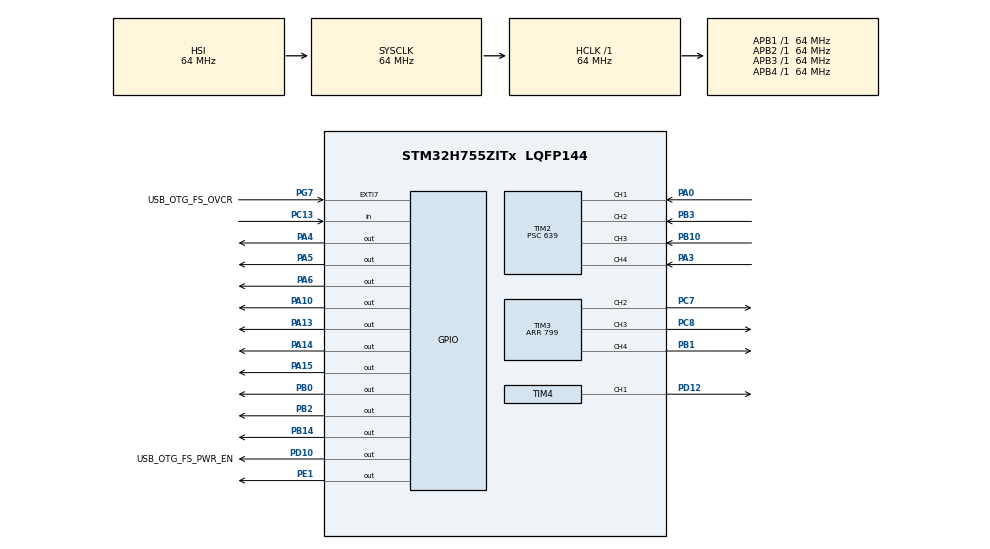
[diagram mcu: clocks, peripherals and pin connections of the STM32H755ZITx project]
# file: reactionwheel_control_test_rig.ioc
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CortexM4.IPs=FATFS_M4\:I,FREERTOS_M4\:I,IWDG2\:I,RCC,WWDG2\:I,DMA,BDMA,MDMA,NVIC2\:I,ETH,USART3,DEBUG,PDM2PCM_M4\:I,PWR,RESMGR_UTILITY,SYS_M4\:I,USB_DEVICE_M4\:I,USB_HOST_M4\:I,CORTEX_M4\:I,GPIO,OPENAMP_M4\:I,VREFBUF,NUCLEO-H755ZI-Q
CortexM7.IPs=FATFS_M7\:I,FREERTOS_M7\:I,IWDG1\:I,RCC\:I,WWDG1\:I,DMA\:I,BDMA\:I,MDMA\:I,NVIC1\:I,ETH\:I,USART3\:I,USB_OTG_FS\:I,SYS\:I,CORTEX_M7\:I,DEBUG\:I,PDM2PCM_M7\:I,PWR\:I,RESMGR_UTILITY\:I,USB_DEVICE_M7\:I,USB_HOST_M7\:I,GPIO\:I,OPENAMP_M7\:I,VREFBUF\:I,MEMORYMAP\:I,TIM2\:I,TIM3\:I,TIM4\:I,NUCLEO-H755ZI-Q\:I
CortexM7.Pins=PA4,PA5,PA6,PA10
Mcu.Family=STM32H7
Mcu.Name=STM32H755ZITx
Mcu.Package=LQFP144
NUCLEO-H755ZI-Q.BUTTON=1
NUCLEO-H755ZI-Q.Bsp_Common_DEMO=true
NUCLEO-H755ZI-Q.LD1=true
NUCLEO-H755ZI-Q.LD2=true
NUCLEO-H755ZI-Q.LD3=true
NUCLEO-H755ZI-Q.VCP=true
NVIC1.EXTI15_10_IRQn=true\:0\:0\:false\:false\:true\:false\:true\:true
NVIC1.PriorityGroup=NVIC_PRIORITYGROUP_4
NVIC1.TIM2_IRQn=true\:0\:0\:false\:false\:true\:true\:true\:true
NVIC2.PriorityGroup=NVIC_PRIORITYGROUP_4
PA0.PinAttribute=CortexM7
PA0.Signal=S_TIM2_CH1_ETR
PA1.PinAttribute=CortexM7
PA1.Signal=ETH_REF_CLK
PA10.PinAttribute=CortexM7
PA10.Signal=GPIO_Output
PA11.PinAttribute=CortexM7
PA11.Signal=USB_OTG_FS_DM
PA12.PinAttribute=CortexM7
PA12.Signal=USB_OTG_FS_DP
PA13\ (JTMS/SWDIO).PinAttribute=Free
PA13\ (JTMS/SWDIO).Signal=GPIO_Output
PA14\ (JTCK/SWCLK).PinAttribute=Free
PA14\ (JTCK/SWCLK).Signal=GPIO_Output
PA15\ (JTDI).PinAttribute=Free
PA15\ (JTDI).Signal=GPIO_Output
PA2.PinAttribute=CortexM7
PA2.Signal=ETH_MDIO
PA3.PinAttribute=CortexM7
PA3.Signal=S_TIM2_CH4
PA4.PinAttribute=CortexM7
PA4.Signal=GPIO_Output
PA5.PinAttribute=CortexM7
PA5.Signal=GPIO_Output
PA6.PinAttribute=CortexM7
PA6.Signal=GPIO_Output
PA7.PinAttribute=CortexM7
PA7.Signal=ETH_CRS_DV
PA8.PinAttribute=CortexM7
PA8.Signal=USB_OTG_FS_SOF
PA9.PinAttribute=CortexM7
PA9.Signal=USB_OTG_FS_VBUS
PB0.Signal=GPIO_Output
PB1.PinAttribute=CortexM7
PB1.Signal=S_TIM3_CH4
PB10.PinAttribute=CortexM7
PB10.Signal=S_TIM2_CH3
PB13.PinAttribute=CortexM7
PB13.Signal=ETH_TXD1
PB14.Signal=GPIO_Output
PB2.PinAttribute=Free
PB2.Signal=GPIO_Output
PB3\ (JTDO/TRACESWO).PinAttribute=CortexM7
PB3\ (JTDO/TRACESWO).Signal=S_TIM2_CH2
PC1.PinAttribute=CortexM7
PC1.Signal=ETH_MDC
PC13.Signal=GPIO_Input
PC14-OSC32_IN\ (OSC32_IN).PinAttribute=Free
PC14-OSC32_IN\ (OSC32_IN).Signal=RCC_OSC32_IN
PC15-OSC32_OUT\ (OSC32_OUT).PinAttribute=Free
PC15-OSC32_OUT\ (OSC32_OUT).Signal=RCC_OSC32_OUT
PC4.PinAttribute=CortexM7
PC4.Signal=ETH_RXD0
PC5.PinAttribute=CortexM7
PC5.Signal=ETH_RXD1
PC7.PinAttribute=CortexM7
PC7.Signal=S_TIM3_CH2
PC8.PinAttribute=CortexM7
PC8.Signal=S_TIM3_CH3
PD10.GPIO_Label=USB_OTG_FS_PWR_EN
PD10.PinAttribute=Free
PD10.Signal=GPIO_Output
PD12.PinAttribute=CortexM7
PD12.Signal=S_TIM4_CH1
PD8.Signal=USART3_TX
PD9.Signal=USART3_RX
PE1.Signal=GPIO_Output
PG11.PinAttribute=CortexM7
PG11.Signal=ETH_TX_EN
PG13.PinAttribute=CortexM7
PG13.Signal=ETH_TXD0
PG7.GPIO_Label=USB_OTG_FS_OVCR
PG7.PinAttribute=Free
PG7.Signal=GPXTI7
PH0-OSC_IN\ (PH0).PinAttribute=Free
PH0-OSC_IN\ (PH0).Signal=RCC_OSC_IN
PH1-OSC_OUT\ (PH1).PinAttribute=Free
PH1-OSC_OUT\ (PH1).Signal=RCC_OSC_OUT
ProjectManager.HeapSize=M4-0x200,M7-0x200
ProjectManager.StackSize=M4-0x400,M7-0x400
ProjectManager.TargetToolchain=STM32CubeIDE
RCC.ADCFreq_Value=129000000
RCC.APB1Freq_Value=64000000
RCC.APB2Freq_Value=64000000
RCC.APB3Freq_Value=64000000
RCC.APB4Freq_Value=64000000
RCC.CortexFreq_Value=64000000
RCC.DIVM1=5
RCC.DIVN1=48
RCC.DIVQ1=5
RCC.HCLKFreq_Value=64000000
RCC.PLL2FRACN=0
RCC.PLL3FRACN=0
RCC.PLLFRACN=0
RCC.SYSCLKFreq_VALUE=64000000
RCC.SupplySource=PWR_DIRECT_SMPS_SUPPLY
RCC.USBFreq_Value=122880000
SH.S_TIM2_CH1_ETR.0=TIM2_CH1,Input_Capture1_from_TI1
SH.S_TIM2_CH2.0=TIM2_CH2,Input_Capture2_from_TI2
SH.S_TIM2_CH3.0=TIM2_CH3,Input_Capture3_from_TI3
SH.S_TIM2_CH4.0=TIM2_CH4,Input_Capture4_from_TI4
SH.S_TIM3_CH2.0=TIM3_CH2,PWM Generation2 CH2
SH.S_TIM3_CH3.0=TIM3_CH3,PWM Generation3 CH3
SH.S_TIM3_CH4.0=TIM3_CH4,PWM Generation4 CH4
SH.S_TIM4_CH1.0=TIM4_CH1,PWM Generation1 CH1
TIM2.Channel-Input_Capture1_from_TI1=TIM_CHANNEL_1
TIM2.Channel-Input_Capture2_from_TI2=TIM_CHANNEL_2
TIM2.Channel-Input_Capture3_from_TI3=TIM_CHANNEL_3
TIM2.Channel-Input_Capture4_from_TI4=TIM_CHANNEL_4
TIM2.ICFilter_CH1=15
TIM2.Prescaler=639
TIM3.Channel-PWM\ Generation2\ CH2=TIM_CHANNEL_2
TIM3.Channel-PWM\ Generation3\ CH3=TIM_CHANNEL_3
TIM3.Channel-PWM\ Generation4\ CH4=TIM_CHANNEL_4
TIM3.Period=799
TIM3.Pulse-PWM\ Generation4\ CH4=0
TIM4.Channel-PWM\ Generation1\ CH1=TIM_CHANNEL_1
VP_MEMORYMAP_VS_MEMORYMAP.Mode=CurAppReg
VP_NUCLEO-H755ZI-Q_VS_BSP_COMMON.Mode=COMMON
VP_SYS_M4_VS_Systick.Mode=SysTick
VP_TIM2_VS_ClockSourceINT.Mode=Internal
VP_TIM3_VS_ClockSourceINT.Mode=Internal
VP_TIM4_VS_ClockSourceINT.Mode=Internal
board=NUCLEO-H755ZI-Q

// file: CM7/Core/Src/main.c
/* USER CODE BEGIN Header */
/**
  ******************************************************************************
  * @file           : main.c
  * @brief          : Main program body
  ******************************************************************************
  * @attention
  *
  * Copyright (c) 2025 STMicroelectronics.
  * All rights reserved.
  *
  * This software is licensed under terms that can be found in the LICENSE file
  * in the root directory of this software component.
  * If no LICENSE file comes with this software, it is provided AS-IS.
  *
  ******************************************************************************
  */
/* USER CODE END Header */
#include "main.h"

/* USER CODE BEGIN PD */

#ifndef HSEM_ID_0
#define HSEM_ID_0 (0U) /* HW semaphore 0*/
#endif

/* USER CODE END PD */

COM_InitTypeDef BspCOMInit;
__IO uint32_t BspButtonState = BUTTON_RELEASED;

TIM_HandleTypeDef htim2;
TIM_HandleTypeDef htim3;
TIM_HandleTypeDef htim4;

void SystemClock_Config(void);
static void MX_GPIO_Init(void);
static void MX_TIM2_Init(void);
static void MX_TIM3_Init(void);
static void MX_TIM4_Init(void);

int main(void)
{

/* USER CODE BEGIN Boot_Mode_Sequence_0 */
  int32_t timeout;
/* USER CODE END Boot_Mode_Sequence_0 */

/* USER CODE BEGIN Boot_Mode_Sequence_1 */
  /* Wait until CPU2 boots and enters in stop mode or timeout*/
  timeout = 0xFFFF;
  while((__HAL_RCC_GET_FLAG(RCC_FLAG_D2CKRDY) != RESET) && (timeout-- > 0));
  if ( timeout < 0 )
  {
  Error_Handler();
  }
/* USER CODE END Boot_Mode_Sequence_1 */
  /* MCU Configuration--------------------------------------------------------*/

  /* Reset of all peripherals, Initializes the Flash interface and the Systick. */
  HAL_Init();

  /* Configure the system clock */
  SystemClock_Config();
/* USER CODE BEGIN Boot_Mode_Sequence_2 */
/* When system initialization is finished, Cortex-M7 will release Cortex-M4 by means of
HSEM notification */
/*HW semaphore Clock enable*/
__HAL_RCC_HSEM_CLK_ENABLE();
/*Take HSEM */
HAL_HSEM_FastTake(HSEM_ID_0);
/*Release HSEM in order to notify the CPU2(CM4)*/
HAL_HSEM_Release(HSEM_ID_0,0);
/* wait until CPU2 wakes up from stop mode */
timeout = 0xFFFF;
while((__HAL_RCC_GET_FLAG(RCC_FLAG_D2CKRDY) == RESET) && (timeout-- > 0));
if ( timeout < 0 )
{
Error_Handler();
}
/* USER CODE END Boot_Mode_Sequence_2 */

  /* Initialize all configured peripherals */
  MX_GPIO_Init();
  MX_TIM2_Init();
  MX_TIM3_Init();
  MX_TIM4_Init();

  /* Initialize leds */
  BSP_LED_Init(LED_GREEN);
  BSP_LED_Init(LED_YELLOW);
  BSP_LED_Init(LED_RED);

  /* Initialize USER push-button, will be used to trigger an interrupt each time it's pressed.*/
  BSP_PB_Init(BUTTON_USER, BUTTON_MODE_EXTI);

  /* Initialize COM1 port (115200, 8 bits (7-bit data + 1 stop bit), no parity */
  BspCOMInit.BaudRate   = 115200;
  BspCOMInit.WordLength = COM_WORDLENGTH_8B;
  BspCOMInit.StopBits   = COM_STOPBITS_1;
  BspCOMInit.Parity     = COM_PARITY_NONE;
  BspCOMInit.HwFlowCtl  = COM_HWCONTROL_NONE;
  if (BSP_COM_Init(COM1, &BspCOMInit) != BSP_ERROR_NONE)
  {
    Error_Handler();
  }

  /* USER CODE BEGIN BSP */
  /* -- Sample board code to send message over COM1 port ---- */
  printf("Welcome to STM32 world !\n\r");
  /* -- Sample board code to switch on leds ---- */
  BSP_LED_On(LED_GREEN);
  BSP_LED_On(LED_YELLOW);
  BSP_LED_On(LED_RED);
  /* USER CODE END BSP */

  /* Infinite loop */
  /* USER CODE BEGIN WHILE */
//  if (HAL_TIM_PWM_Start(&htim3, TIM_CHANNEL_2) != HAL_OK) {
//	  BSP_LED_Off(LED_GREEN);
//  }
//
//  if (HAL_TIM_PWM_Start(&htim3, TIM_CHANNEL_3) != HAL_OK) {
//	  BSP_LED_Off(LED_GREEN);
//  }

  if (HAL_TIM_PWM_Start(&htim3, TIM_CHANNEL_4) != HAL_OK) {
	  BSP_LED_Off(LED_GREEN);
  }

  if (HAL_TIM_PWM_Start(&htim3, TIM_CHANNEL_2) != HAL_OK) {
	  BSP_LED_Off(LED_GREEN);
  }

  HAL_TIM_IC_Start_IT(&htim2, TIM_CHANNEL_1);

  while (1)
  {

    /* -- Sample board code for User push-button in interrupt mode ---- */
//    if (BspButtonState == BUTTON_PRESSED)
//    {
//      /* Update button state */
//      BspButtonState = BUTTON_RELEASED;
//      /* -- Sample board code to toggle leds ---- */
//      BSP_LED_Toggle(LED_GREEN);
//      BSP_LED_Toggle(LED_YELLOW);
//      BSP_LED_Toggle(LED_RED);
//
//      /* ..... Perform your action ..... */
//    }

	  // Motor #1
	  HAL_GPIO_WritePin(GPIOA, GPIO_PIN_4, GPIO_PIN_SET);
	  //HAL_GPIO_WritePin(GPIOA, GPIO_PIN_5, GPIO_PIN_RESET);
	  HAL_GPIO_WritePin(GPIOA, GPIO_PIN_5, GPIO_PIN_SET);
	  //HAL_GPIO_WritePin(GPIOA, GPIO_PIN_3, GPIO_PIN_RESET);

	  //HAL_GPIO_WritePin(GPIOA, GPIO_PIN_0, GPIO_PIN_SET);
	  __HAL_TIM_SET_COMPARE(&htim3, TIM_CHANNEL_4, 800);

	  // Motor #2
	  HAL_GPIO_WritePin(GPIOA, GPIO_PIN_6, GPIO_PIN_SET);
	  //HAL_GPIO_WritePin(GPIOA, GPIO_PIN_5, GPIO_PIN_RESET);
	  HAL_GPIO_WritePin(GPIOA, GPIO_PIN_10, GPIO_PIN_SET);
	  //HAL_GPIO_WritePin(GPIOA, GPIO_PIN_3, GPIO_PIN_RESET);

	  //HAL_GPIO_WritePin(GPIOA, GPIO_PIN_0, GPIO_PIN_SET);
	  __HAL_TIM_SET_COMPARE(&htim3, TIM_CHANNEL_2, 800);

	  BSP_LED_On(LED_RED);
	  HAL_Delay(1000);

	  // Motor #1

	  HAL_GPIO_WritePin(GPIOA, GPIO_PIN_4, GPIO_PIN_SET);
	  //HAL_GPIO_WritePin(GPIOA, GPIO_PIN_5, GPIO_PIN_RESET);
	  HAL_GPIO_WritePin(GPIOA, GPIO_PIN_5, GPIO_PIN_RESET);
	  //HAL_GPIO_WritePin(GPIOA, GPIO_PIN_3, GPIO_PIN_RESET);

	  //HAL_GPIO_WritePin(GPIOA, GPIO_PIN_0, GPIO_PIN_SET);
	  __HAL_TIM_SET_COMPARE(&htim3, TIM_CHANNEL_4, 1000);

	  // Motor #2
	  HAL_GPIO_WritePin(GPIOA, GPIO_PIN_6, GPIO_PIN_SET);
	  //HAL_GPIO_WritePin(GPIOA, GPIO_PIN_5, GPIO_PIN_RESET);
	  HAL_GPIO_WritePin(GPIOA, GPIO_PIN_10, GPIO_PIN_RESET);
	  //HAL_GPIO_WritePin(GPIOA, GPIO_PIN_3, GPIO_PIN_RESET);

	  //HAL_GPIO_WritePin(GPIOA, GPIO_PIN_0, GPIO_PIN_SET);
	  __HAL_TIM_SET_COMPARE(&htim3, TIM_CHANNEL_2, 800);

	  BSP_LED_Off(LED_RED);

	  HAL_Delay(1000);

    /* USER CODE END WHILE */

  }
}

void SystemClock_Config(void)
{
  RCC_OscInitTypeDef RCC_OscInitStruct = {0};
  RCC_ClkInitTypeDef RCC_ClkInitStruct = {0};

  /** Supply configuration update enable
  */
  HAL_PWREx_ConfigSupply(PWR_DIRECT_SMPS_SUPPLY);

  /** Configure the main internal regulator output voltage
  */
  __HAL_PWR_VOLTAGESCALING_CONFIG(PWR_REGULATOR_VOLTAGE_SCALE3);

  while(!__HAL_PWR_GET_FLAG(PWR_FLAG_VOSRDY)) {}

  /** Initializes the RCC Oscillators according to the specified parameters
  * in the RCC_OscInitTypeDef structure.
  */
  RCC_OscInitStruct.OscillatorType = RCC_OSCILLATORTYPE_HSI;
  RCC_OscInitStruct.HSIState = RCC_HSI_DIV1;
  RCC_OscInitStruct.HSICalibrationValue = RCC_HSICALIBRATION_DEFAULT;
  RCC_OscInitStruct.PLL.PLLState = RCC_PLL_NONE;
  if (HAL_RCC_OscConfig(&RCC_OscInitStruct) != HAL_OK)
  {
    Error_Handler();
  }

  /** Initializes the CPU, AHB and APB buses clocks
  */
  RCC_ClkInitStruct.ClockType = RCC_CLOCKTYPE_HCLK|RCC_CLOCKTYPE_SYSCLK
                              |RCC_CLOCKTYPE_PCLK1|RCC_CLOCKTYPE_PCLK2
                              |RCC_CLOCKTYPE_D3PCLK1|RCC_CLOCKTYPE_D1PCLK1;
  RCC_ClkInitStruct.SYSCLKSource = RCC_SYSCLKSOURCE_HSI;
  RCC_ClkInitStruct.SYSCLKDivider = RCC_SYSCLK_DIV1;
  RCC_ClkInitStruct.AHBCLKDivider = RCC_HCLK_DIV1;
  RCC_ClkInitStruct.APB3CLKDivider = RCC_APB3_DIV1;
  RCC_ClkInitStruct.APB1CLKDivider = RCC_APB1_DIV1;
  RCC_ClkInitStruct.APB2CLKDivider = RCC_APB2_DIV1;
  RCC_ClkInitStruct.APB4CLKDivider = RCC_APB4_DIV1;

  if (HAL_RCC_ClockConfig(&RCC_ClkInitStruct, FLASH_LATENCY_1) != HAL_OK)
  {
    Error_Handler();
  }
}

static void MX_TIM2_Init(void)
{

  TIM_ClockConfigTypeDef sClockSourceConfig = {0};
  TIM_MasterConfigTypeDef sMasterConfig = {0};
  TIM_IC_InitTypeDef sConfigIC = {0};

  htim2.Instance = TIM2;
  htim2.Init.Prescaler = 639;
  htim2.Init.CounterMode = TIM_COUNTERMODE_UP;
  htim2.Init.Period = 4294967295;
  htim2.Init.ClockDivision = TIM_CLOCKDIVISION_DIV1;
  htim2.Init.AutoReloadPreload = TIM_AUTORELOAD_PRELOAD_DISABLE;
  if (HAL_TIM_Base_Init(&htim2) != HAL_OK)
  {
    Error_Handler();
  }
  sClockSourceConfig.ClockSource = TIM_CLOCKSOURCE_INTERNAL;
  if (HAL_TIM_ConfigClockSource(&htim2, &sClockSourceConfig) != HAL_OK)
  {
    Error_Handler();
  }
  if (HAL_TIM_IC_Init(&htim2) != HAL_OK)
  {
    Error_Handler();
  }
  sMasterConfig.MasterOutputTrigger = TIM_TRGO_RESET;
  sMasterConfig.MasterSlaveMode = TIM_MASTERSLAVEMODE_DISABLE;
  if (HAL_TIMEx_MasterConfigSynchronization(&htim2, &sMasterConfig) != HAL_OK)
  {
    Error_Handler();
  }
  sConfigIC.ICPolarity = TIM_INPUTCHANNELPOLARITY_RISING;
  sConfigIC.ICSelection = TIM_ICSELECTION_DIRECTTI;
  sConfigIC.ICPrescaler = TIM_ICPSC_DIV1;
  sConfigIC.ICFilter = 15;
  if (HAL_TIM_IC_ConfigChannel(&htim2, &sConfigIC, TIM_CHANNEL_1) != HAL_OK)
  {
    Error_Handler();
  }
  sConfigIC.ICFilter = 0;
  if (HAL_TIM_IC_ConfigChannel(&htim2, &sConfigIC, TIM_CHANNEL_2) != HAL_OK)
  {
    Error_Handler();
  }
  if (HAL_TIM_IC_ConfigChannel(&htim2, &sConfigIC, TIM_CHANNEL_3) != HAL_OK)
  {
    Error_Handler();
  }
  if (HAL_TIM_IC_ConfigChannel(&htim2, &sConfigIC, TIM_CHANNEL_4) != HAL_OK)
  {
    Error_Handler();
  }

}

static void MX_TIM3_Init(void)
{

  TIM_ClockConfigTypeDef sClockSourceConfig = {0};
  TIM_MasterConfigTypeDef sMasterConfig = {0};
  TIM_OC_InitTypeDef sConfigOC = {0};

  htim3.Instance = TIM3;
  htim3.Init.Prescaler = 0;
  htim3.Init.CounterMode = TIM_COUNTERMODE_UP;
  htim3.Init.Period = 799;
  htim3.Init.ClockDivision = TIM_CLOCKDIVISION_DIV1;
  htim3.Init.AutoReloadPreload = TIM_AUTORELOAD_PRELOAD_DISABLE;
  if (HAL_TIM_Base_Init(&htim3) != HAL_OK)
  {
    Error_Handler();
  }
  sClockSourceConfig.ClockSource = TIM_CLOCKSOURCE_INTERNAL;
  if (HAL_TIM_ConfigClockSource(&htim3, &sClockSourceConfig) != HAL_OK)
  {
    Error_Handler();
  }
  if (HAL_TIM_PWM_Init(&htim3) != HAL_OK)
  {
    Error_Handler();
  }
  sMasterConfig.MasterOutputTrigger = TIM_TRGO_RESET;
  sMasterConfig.MasterSlaveMode = TIM_MASTERSLAVEMODE_DISABLE;
  if (HAL_TIMEx_MasterConfigSynchronization(&htim3, &sMasterConfig) != HAL_OK)
  {
    Error_Handler();
  }
  sConfigOC.OCMode = TIM_OCMODE_PWM1;
  sConfigOC.Pulse = 0;
  sConfigOC.OCPolarity = TIM_OCPOLARITY_HIGH;
  sConfigOC.OCFastMode = TIM_OCFAST_DISABLE;
  if (HAL_TIM_PWM_ConfigChannel(&htim3, &sConfigOC, TIM_CHANNEL_2) != HAL_OK)
  {
    Error_Handler();
  }
  if (HAL_TIM_PWM_ConfigChannel(&htim3, &sConfigOC, TIM_CHANNEL_3) != HAL_OK)
  {
    Error_Handler();
  }
  if (HAL_TIM_PWM_ConfigChannel(&htim3, &sConfigOC, TIM_CHANNEL_4) != HAL_OK)
  {
    Error_Handler();
  }
  HAL_TIM_MspPostInit(&htim3);

}

static void MX_TIM4_Init(void)
{

  TIM_ClockConfigTypeDef sClockSourceConfig = {0};
  TIM_MasterConfigTypeDef sMasterConfig = {0};
  TIM_OC_InitTypeDef sConfigOC = {0};

  htim4.Instance = TIM4;
  htim4.Init.Prescaler = 0;
  htim4.Init.CounterMode = TIM_COUNTERMODE_UP;
  htim4.Init.Period = 65535;
  htim4.Init.ClockDivision = TIM_CLOCKDIVISION_DIV1;
  htim4.Init.AutoReloadPreload = TIM_AUTORELOAD_PRELOAD_DISABLE;
  if (HAL_TIM_Base_Init(&htim4) != HAL_OK)
  {
    Error_Handler();
  }
  sClockSourceConfig.ClockSource = TIM_CLOCKSOURCE_INTERNAL;
  if (HAL_TIM_ConfigClockSource(&htim4, &sClockSourceConfig) != HAL_OK)
  {
    Error_Handler();
  }
  if (HAL_TIM_PWM_Init(&htim4) != HAL_OK)
  {
    Error_Handler();
  }
  sMasterConfig.MasterOutputTrigger = TIM_TRGO_RESET;
  sMasterConfig.MasterSlaveMode = TIM_MASTERSLAVEMODE_DISABLE;
  if (HAL_TIMEx_MasterConfigSynchronization(&htim4, &sMasterConfig) != HAL_OK)
  {
    Error_Handler();
  }
  sConfigOC.OCMode = TIM_OCMODE_PWM1;
  sConfigOC.Pulse = 0;
  sConfigOC.OCPolarity = TIM_OCPOLARITY_HIGH;
  sConfigOC.OCFastMode = TIM_OCFAST_DISABLE;
  if (HAL_TIM_PWM_ConfigChannel(&htim4, &sConfigOC, TIM_CHANNEL_1) != HAL_OK)
  {
    Error_Handler();
  }
  HAL_TIM_MspPostInit(&htim4);

}

static void MX_GPIO_Init(void)
{
  GPIO_InitTypeDef GPIO_InitStruct = {0};

  /* GPIO Ports Clock Enable */
  __HAL_RCC_GPIOC_CLK_ENABLE();
  __HAL_RCC_GPIOA_CLK_ENABLE();
  __HAL_RCC_GPIOB_CLK_ENABLE();
  __HAL_RCC_GPIOD_CLK_ENABLE();
  __HAL_RCC_GPIOG_CLK_ENABLE();

  /*Configure GPIO pin Output Level */
  HAL_GPIO_WritePin(GPIOA, GPIO_PIN_4|GPIO_PIN_5|GPIO_PIN_6|GPIO_PIN_10, GPIO_PIN_RESET);

  /*Configure GPIO pins : PC1 PC4 PC5 */
  GPIO_InitStruct.Pin = GPIO_PIN_1|GPIO_PIN_4|GPIO_PIN_5;
  GPIO_InitStruct.Mode = GPIO_MODE_AF_PP;
  GPIO_InitStruct.Pull = GPIO_NOPULL;
  GPIO_InitStruct.Speed = GPIO_SPEED_FREQ_LOW;
  GPIO_InitStruct.Alternate = GPIO_AF11_ETH;
  HAL_GPIO_Init(GPIOC, &GPIO_InitStruct);

  /*Configure GPIO pins : PA1 PA2 PA7 */
  GPIO_InitStruct.Pin = GPIO_PIN_1|GPIO_PIN_2|GPIO_PIN_7;
  GPIO_InitStruct.Mode = GPIO_MODE_AF_PP;
  GPIO_InitStruct.Pull = GPIO_NOPULL;
  GPIO_InitStruct.Speed = GPIO_SPEED_FREQ_LOW;
  GPIO_InitStruct.Alternate = GPIO_AF11_ETH;
  HAL_GPIO_Init(GPIOA, &GPIO_InitStruct);

  /*Configure GPIO pins : PA4 PA5 PA6 PA10 */
  GPIO_InitStruct.Pin = GPIO_PIN_4|GPIO_PIN_5|GPIO_PIN_6|GPIO_PIN_10;
  GPIO_InitStruct.Mode = GPIO_MODE_OUTPUT_PP;
  GPIO_InitStruct.Pull = GPIO_NOPULL;
  GPIO_InitStruct.Speed = GPIO_SPEED_FREQ_LOW;
  HAL_GPIO_Init(GPIOA, &GPIO_InitStruct);

  /*Configure GPIO pin : PB13 */
  GPIO_InitStruct.Pin = GPIO_PIN_13;
  GPIO_InitStruct.Mode = GPIO_MODE_AF_PP;
  GPIO_InitStruct.Pull = GPIO_NOPULL;
  GPIO_InitStruct.Speed = GPIO_SPEED_FREQ_LOW;
  GPIO_InitStruct.Alternate = GPIO_AF11_ETH;
  HAL_GPIO_Init(GPIOB, &GPIO_InitStruct);

  /*Configure GPIO pins : PA8 PA11 PA12 */
  GPIO_InitStruct.Pin = GPIO_PIN_8|GPIO_PIN_11|GPIO_PIN_12;
  GPIO_InitStruct.Mode = GPIO_MODE_AF_PP;
  GPIO_InitStruct.Pull = GPIO_NOPULL;
  GPIO_InitStruct.Speed = GPIO_SPEED_FREQ_LOW;
  GPIO_InitStruct.Alternate = GPIO_AF10_OTG1_FS;
  HAL_GPIO_Init(GPIOA, &GPIO_InitStruct);

  /*Configure GPIO pins : PG11 PG13 */
  GPIO_InitStruct.Pin = GPIO_PIN_11|GPIO_PIN_13;
  GPIO_InitStruct.Mode = GPIO_MODE_AF_PP;
  GPIO_InitStruct.Pull = GPIO_NOPULL;
  GPIO_InitStruct.Speed = GPIO_SPEED_FREQ_LOW;
  GPIO_InitStruct.Alternate = GPIO_AF11_ETH;
  HAL_GPIO_Init(GPIOG, &GPIO_InitStruct);

}

/* USER CODE BEGIN 4 */

uint32_t capture[4] = {0};
double RPM[4] = {0};

void HAL_TIM_IC_CaptureCallback(TIM_HandleTypeDef *htim)
{
    if (__HAL_TIM_GET_IT_SOURCE(htim, TIM_IT_CC1))
    {
    	if (capture[0] == 0)
    	{
    		capture[0] = HAL_TIM_ReadCapturedValue(htim, TIM_CHANNEL_1);
    		RPM[0] = 0;
    	}
    	else
    	{
    		uint32_t prev_capture = capture[0];
    		capture[0] = HAL_TIM_ReadCapturedValue(htim, TIM_CHANNEL_1);
    		RPM[0] = (double)(capture[0] - prev_capture)*0.00001;
    		RPM[0] = 1.0 / (6.0 * RPM[0]) * 60.0;
    	}
    }
}

/* USER CODE END 4 */

/**
  * @brief  BSP Push Button callback
  * @param  Button Specifies the pressed button
  * @retval None
  */
void BSP_PB_Callback(Button_TypeDef Button)
{
  if (Button == BUTTON_USER)
  {
    BspButtonState = BUTTON_PRESSED;
  }
}

void Error_Handler(void)
{
  __disable_irq();
  while (1)
  {
  }
}
